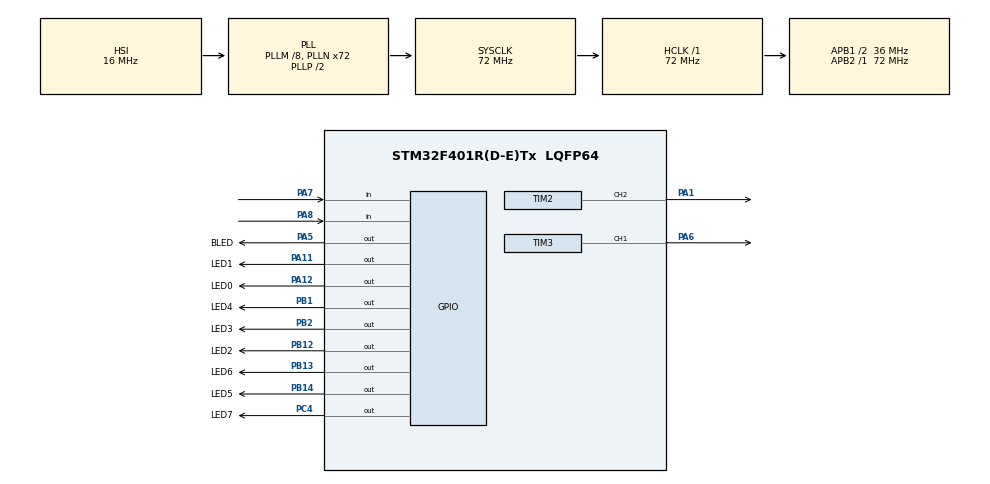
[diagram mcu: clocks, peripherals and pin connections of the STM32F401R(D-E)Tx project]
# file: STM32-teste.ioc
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Mcu.Family=STM32F4
Mcu.Name=STM32F401R(D-E)Tx
Mcu.Package=LQFP64
NVIC.PriorityGroup=NVIC_PRIORITYGROUP_4
PA1.Signal=S_TIM2_CH2
PA11.GPIO_Label=LED1
PA11.Signal=GPIO_Output
PA12.GPIO_Label=LED0
PA12.Signal=GPIO_Output
PA5.GPIO_Label=BLED
PA5.Signal=GPIO_Output
PA6.Signal=S_TIM3_CH1
PA7.Signal=GPIO_Input
PA8.Signal=GPIO_Input
PB1.GPIO_Label=LED4
PB1.Signal=GPIO_Output
PB12.GPIO_Label=LED2
PB12.Signal=GPIO_Output
PB13.GPIO_Label=LED6
PB13.Signal=GPIO_Output
PB14.GPIO_Label=LED5
PB14.Signal=GPIO_Output
PB2.GPIO_Label=LED3
PB2.Signal=GPIO_Output
PC4.GPIO_Label=LED7
PC4.Signal=GPIO_Output
PH0\ -\ OSC_IN.Mode=HSE-External-Oscillator
PH0\ -\ OSC_IN.Signal=RCC_OSC_IN
PH1\ -\ OSC_OUT.Mode=HSE-External-Oscillator
PH1\ -\ OSC_OUT.Signal=RCC_OSC_OUT
ProjectManager.HeapSize=0x200
ProjectManager.StackSize=0x400
ProjectManager.TargetToolchain=STM32CubeIDE
RCC.48MHZClocksFreq_Value=36000000
RCC.AHBFreq_Value=72000000
RCC.APB1CLKDivider=RCC_HCLK_DIV2
RCC.APB1Freq_Value=36000000
RCC.APB1TimFreq_Value=72000000
RCC.APB2Freq_Value=72000000
RCC.APB2TimFreq_Value=72000000
RCC.CortexFreq_Value=72000000
RCC.HCLKFreq_Value=72000000
RCC.HSE_VALUE=25000000
RCC.HSI_VALUE=16000000
RCC.LSE_VALUE=32768
RCC.PLLM=8
RCC.PLLN=72
RCC.SYSCLKFreq_VALUE=72000000
RCC.SYSCLKSource=RCC_SYSCLKSOURCE_PLLCLK
RCC.VCOOutputFreq_Value=144000000
SH.S_TIM2_CH2.0=TIM2_CH2,PWM Generation2 CH2
SH.S_TIM3_CH1.0=TIM3_CH1,PWM Generation1 CH1
TIM2.AutoReloadPreload=TIM_AUTORELOAD_PRELOAD_ENABLE
TIM2.Channel-PWM\ Generation2\ CH2=TIM_CHANNEL_2
TIM2.Period=9000-1
TIM2.Prescaler=40-1
TIM3.AutoReloadPreload=TIM_AUTORELOAD_PRELOAD_ENABLE
TIM3.Channel-PWM\ Generation1\ CH1=TIM_CHANNEL_1
TIM3.Period=24000-1
TIM3.Prescaler=3000-1
VP_TIM2_VS_ClockSourceINT.Mode=Internal
VP_TIM3_VS_ClockSourceINT.Mode=Internal
board=custom

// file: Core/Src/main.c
/* USER CODE BEGIN Header */
/**
  ******************************************************************************
  * @file           : main.c
  * @brief          : Main program body
  ******************************************************************************
  * @attention
  *
  * Copyright (c) 2023 STMicroelectronics.
  * All rights reserved.
  *
  * This software is licensed under terms that can be found in the LICENSE file
  * in the root directory of this software component.
  * If no LICENSE file comes with this software, it is provided AS-IS.
  *
  ******************************************************************************
  */
/* USER CODE END Header */
#include "main.h"

/* USER CODE BEGIN Includes */
#include <stdbool.h>
/* USER CODE END Includes */

/* USER CODE BEGIN PM */
#define Vref 3.3f
#define PWMPeriod 7200
#define HSPeriod 24000
#define TESTE 0

#if TESTE == 1
#define TESTE_PWM
#elif TESTE == 2
#define TESTE_LEDS
#endif

/* USER CODE END PM */

TIM_HandleTypeDef htim2;
TIM_HandleTypeDef htim3;

void SystemClock_Config(void);
static void MX_GPIO_Init(void);
static void MX_TIM3_Init(void);
static void MX_TIM2_Init(void);
/* USER CODE BEGIN PFP */
void ledLine(uint8_t value);
void testLEDs(void);
void testPWM(void);
/* USER CODE END PFP */

int main(void)
{
  /* USER CODE BEGIN 1 */
  int32_t CH1_DC = 0;

  bool done = true;
  int8_t count = 0;
  int8_t sar = 0;		/// Saida digital
  /* USER CODE END 1 */

  /* MCU Configuration--------------------------------------------------------*/

  /* Reset of all peripherals, Initializes the Flash interface and the Systick. */
  HAL_Init();

  /* Configure the system clock */
  SystemClock_Config();

  /* Initialize all configured peripherals */
  MX_GPIO_Init();
  MX_TIM3_Init();
  MX_TIM2_Init();

  /* Infinite loop */
  /* USER CODE BEGIN WHILE */

  /// cerca de 1 * 0,01 = 10 ms
  HAL_TIM_PWM_Start(&htim3, TIM_CHANNEL_1);
  HAL_TIM_PWM_Start(&htim2, TIM_CHANNEL_2);
  TIM3->CCR1 = HSPeriod / 10;	/// timer do H/S
  TIM2->CCR2 = PWMPeriod;

  while (1)
  {
	HAL_GPIO_WritePin(GPIOA, GPIO_PIN_5, GPIO_PIN_SET);

	while(HAL_GPIO_ReadPin(GPIOA, GPIO_PIN_7)) continue;

	HAL_GPIO_WritePin(GPIOA, GPIO_PIN_5, GPIO_PIN_RESET);

	count = 8;
	sar = 0x00;

#ifdef TESTE_PWM

	testPWM();
	while(1);
#else

	while(count > 0)
	{
		uint8_t temp = sar | (1 << count);
		float invertingInput = temp * Vref / 255;
		float dutyCicle = invertingInput / Vref; // Vref aqui refere-se ao maior nível de tensão do pwm
		TIM2->CCR2 = PWMPeriod * dutyCicle;
		HAL_Delay(5); /// pelo menos 5ms
		GPIO_PinState ret = HAL_GPIO_ReadPin(GPIOA, GPIO_PIN_8);
		if(ret)
			sar = temp;

		ledLine(sar);
		count--;
	}
#endif

    /* USER CODE END WHILE */

  }
}

void SystemClock_Config(void)
{
  RCC_OscInitTypeDef RCC_OscInitStruct = {0};
  RCC_ClkInitTypeDef RCC_ClkInitStruct = {0};

  /** Configure the main internal regulator output voltage
  */
  __HAL_RCC_PWR_CLK_ENABLE();
  __HAL_PWR_VOLTAGESCALING_CONFIG(PWR_REGULATOR_VOLTAGE_SCALE2);

  /** Initializes the RCC Oscillators according to the specified parameters
  * in the RCC_OscInitTypeDef structure.
  */
  RCC_OscInitStruct.OscillatorType = RCC_OSCILLATORTYPE_HSI;
  RCC_OscInitStruct.HSIState = RCC_HSI_ON;
  RCC_OscInitStruct.HSICalibrationValue = RCC_HSICALIBRATION_DEFAULT;
  RCC_OscInitStruct.PLL.PLLState = RCC_PLL_ON;
  RCC_OscInitStruct.PLL.PLLSource = RCC_PLLSOURCE_HSI;
  RCC_OscInitStruct.PLL.PLLM = 8;
  RCC_OscInitStruct.PLL.PLLN = 72;
  RCC_OscInitStruct.PLL.PLLP = RCC_PLLP_DIV2;
  RCC_OscInitStruct.PLL.PLLQ = 4;
  if (HAL_RCC_OscConfig(&RCC_OscInitStruct) != HAL_OK)
  {
    Error_Handler();
  }

  /** Initializes the CPU, AHB and APB buses clocks
  */
  RCC_ClkInitStruct.ClockType = RCC_CLOCKTYPE_HCLK|RCC_CLOCKTYPE_SYSCLK
                              |RCC_CLOCKTYPE_PCLK1|RCC_CLOCKTYPE_PCLK2;
  RCC_ClkInitStruct.SYSCLKSource = RCC_SYSCLKSOURCE_PLLCLK;
  RCC_ClkInitStruct.AHBCLKDivider = RCC_SYSCLK_DIV1;
  RCC_ClkInitStruct.APB1CLKDivider = RCC_HCLK_DIV2;
  RCC_ClkInitStruct.APB2CLKDivider = RCC_HCLK_DIV1;

  if (HAL_RCC_ClockConfig(&RCC_ClkInitStruct, FLASH_LATENCY_2) != HAL_OK)
  {
    Error_Handler();
  }
}

static void MX_TIM2_Init(void)
{

  TIM_ClockConfigTypeDef sClockSourceConfig = {0};
  TIM_MasterConfigTypeDef sMasterConfig = {0};
  TIM_OC_InitTypeDef sConfigOC = {0};

  htim2.Instance = TIM2;
  htim2.Init.Prescaler = 0;
  htim2.Init.CounterMode = TIM_COUNTERMODE_UP;
  htim2.Init.Period = PWMPeriod -1;
  htim2.Init.ClockDivision = TIM_CLOCKDIVISION_DIV1;
  htim2.Init.AutoReloadPreload = TIM_AUTORELOAD_PRELOAD_ENABLE;
  if (HAL_TIM_Base_Init(&htim2) != HAL_OK)
  {
    Error_Handler();
  }
  sClockSourceConfig.ClockSource = TIM_CLOCKSOURCE_INTERNAL;
  if (HAL_TIM_ConfigClockSource(&htim2, &sClockSourceConfig) != HAL_OK)
  {
    Error_Handler();
  }
  if (HAL_TIM_PWM_Init(&htim2) != HAL_OK)
  {
    Error_Handler();
  }
  sMasterConfig.MasterOutputTrigger = TIM_TRGO_RESET;
  sMasterConfig.MasterSlaveMode = TIM_MASTERSLAVEMODE_DISABLE;
  if (HAL_TIMEx_MasterConfigSynchronization(&htim2, &sMasterConfig) != HAL_OK)
  {
    Error_Handler();
  }
  sConfigOC.OCMode = TIM_OCMODE_PWM1;
  sConfigOC.Pulse = 0;
  sConfigOC.OCPolarity = TIM_OCPOLARITY_HIGH;
  sConfigOC.OCFastMode = TIM_OCFAST_DISABLE;
  if (HAL_TIM_PWM_ConfigChannel(&htim2, &sConfigOC, TIM_CHANNEL_2) != HAL_OK)
  {
    Error_Handler();
  }
  HAL_TIM_MspPostInit(&htim2);

}

static void MX_TIM3_Init(void)
{

  TIM_ClockConfigTypeDef sClockSourceConfig = {0};
  TIM_MasterConfigTypeDef sMasterConfig = {0};
  TIM_OC_InitTypeDef sConfigOC = {0};

  htim3.Instance = TIM3;
  htim3.Init.Prescaler = 3000-1;
  htim3.Init.CounterMode = TIM_COUNTERMODE_UP;
  htim3.Init.Period = 24000-1;
  htim3.Init.ClockDivision = TIM_CLOCKDIVISION_DIV1;
  htim3.Init.AutoReloadPreload = TIM_AUTORELOAD_PRELOAD_ENABLE;
  if (HAL_TIM_Base_Init(&htim3) != HAL_OK)
  {
    Error_Handler();
  }
  sClockSourceConfig.ClockSource = TIM_CLOCKSOURCE_INTERNAL;
  if (HAL_TIM_ConfigClockSource(&htim3, &sClockSourceConfig) != HAL_OK)
  {
    Error_Handler();
  }
  if (HAL_TIM_PWM_Init(&htim3) != HAL_OK)
  {
    Error_Handler();
  }
  sMasterConfig.MasterOutputTrigger = TIM_TRGO_RESET;
  sMasterConfig.MasterSlaveMode = TIM_MASTERSLAVEMODE_DISABLE;
  if (HAL_TIMEx_MasterConfigSynchronization(&htim3, &sMasterConfig) != HAL_OK)
  {
    Error_Handler();
  }
  sConfigOC.OCMode = TIM_OCMODE_PWM1;
  sConfigOC.Pulse = 0;
  sConfigOC.OCPolarity = TIM_OCPOLARITY_HIGH;
  sConfigOC.OCFastMode = TIM_OCFAST_DISABLE;
  if (HAL_TIM_PWM_ConfigChannel(&htim3, &sConfigOC, TIM_CHANNEL_1) != HAL_OK)
  {
    Error_Handler();
  }
  HAL_TIM_MspPostInit(&htim3);

}

static void MX_GPIO_Init(void)
{
  GPIO_InitTypeDef GPIO_InitStruct = {0};

  /* GPIO Ports Clock Enable */
  __HAL_RCC_GPIOH_CLK_ENABLE();
  __HAL_RCC_GPIOA_CLK_ENABLE();
  __HAL_RCC_GPIOC_CLK_ENABLE();
  __HAL_RCC_GPIOB_CLK_ENABLE();

  /*Configure GPIO pin Output Level */
  HAL_GPIO_WritePin(GPIOA, BLED_Pin|LED1_Pin|LED0_Pin, GPIO_PIN_RESET);

  /*Configure GPIO pin Output Level */
  HAL_GPIO_WritePin(LED7_GPIO_Port, LED7_Pin, GPIO_PIN_RESET);

  /*Configure GPIO pin Output Level */
  HAL_GPIO_WritePin(GPIOB, LED4_Pin|LED3_Pin|LED2_Pin|LED6_Pin
                          |LED5_Pin, GPIO_PIN_RESET);

  /*Configure GPIO pins : BLED_Pin LED1_Pin LED0_Pin */
  GPIO_InitStruct.Pin = BLED_Pin|LED1_Pin|LED0_Pin;
  GPIO_InitStruct.Mode = GPIO_MODE_OUTPUT_PP;
  GPIO_InitStruct.Pull = GPIO_NOPULL;
  GPIO_InitStruct.Speed = GPIO_SPEED_FREQ_LOW;
  HAL_GPIO_Init(GPIOA, &GPIO_InitStruct);

  /*Configure GPIO pins : PA7 PA8 */
  GPIO_InitStruct.Pin = GPIO_PIN_7|GPIO_PIN_8;
  GPIO_InitStruct.Mode = GPIO_MODE_INPUT;
  GPIO_InitStruct.Pull = GPIO_NOPULL;
  HAL_GPIO_Init(GPIOA, &GPIO_InitStruct);

  /*Configure GPIO pin : LED7_Pin */
  GPIO_InitStruct.Pin = LED7_Pin;
  GPIO_InitStruct.Mode = GPIO_MODE_OUTPUT_PP;
  GPIO_InitStruct.Pull = GPIO_NOPULL;
  GPIO_InitStruct.Speed = GPIO_SPEED_FREQ_LOW;
  HAL_GPIO_Init(LED7_GPIO_Port, &GPIO_InitStruct);

  /*Configure GPIO pins : LED4_Pin LED3_Pin LED2_Pin LED6_Pin
                           LED5_Pin */
  GPIO_InitStruct.Pin = LED4_Pin|LED3_Pin|LED2_Pin|LED6_Pin
                          |LED5_Pin;
  GPIO_InitStruct.Mode = GPIO_MODE_OUTPUT_PP;
  GPIO_InitStruct.Pull = GPIO_NOPULL;
  GPIO_InitStruct.Speed = GPIO_SPEED_FREQ_LOW;
  HAL_GPIO_Init(GPIOB, &GPIO_InitStruct);

}

/* USER CODE BEGIN 4 */
void ledLine(uint8_t value)
{
	if(value & 1)
		HAL_GPIO_WritePin(LED0_GPIO_Port, LED0_Pin, GPIO_PIN_SET);
	else
		HAL_GPIO_WritePin(LED0_GPIO_Port, LED0_Pin, GPIO_PIN_RESET);

	if(value & 2)
		HAL_GPIO_WritePin(LED1_GPIO_Port, LED1_Pin, GPIO_PIN_SET);
	else
			HAL_GPIO_WritePin(LED1_GPIO_Port, LED1_Pin, GPIO_PIN_RESET);

	if(value & 4)
		HAL_GPIO_WritePin(LED2_GPIO_Port, LED2_Pin, GPIO_PIN_SET);
	else
		HAL_GPIO_WritePin(LED2_GPIO_Port, LED2_Pin, GPIO_PIN_RESET);

	if(value & 8)
		HAL_GPIO_WritePin(LED3_GPIO_Port, LED3_Pin, GPIO_PIN_SET);
	else
		HAL_GPIO_WritePin(LED3_GPIO_Port, LED3_Pin, GPIO_PIN_RESET);

	if(value & 16)
			HAL_GPIO_WritePin(LED4_GPIO_Port, LED4_Pin, GPIO_PIN_SET);
	else
		HAL_GPIO_WritePin(LED4_GPIO_Port, LED4_Pin, GPIO_PIN_RESET);

	if(value & 32)
		HAL_GPIO_WritePin(LED5_GPIO_Port, LED5_Pin, GPIO_PIN_SET);
	else
		HAL_GPIO_WritePin(LED5_GPIO_Port, LED5_Pin, GPIO_PIN_RESET);

	if(value & 64)
		HAL_GPIO_WritePin(LED6_GPIO_Port, LED6_Pin, GPIO_PIN_SET);
	else
		HAL_GPIO_WritePin(LED6_GPIO_Port, LED6_Pin, GPIO_PIN_RESET);

	if(value & 128)
		HAL_GPIO_WritePin(LED7_GPIO_Port, LED7_Pin, GPIO_PIN_SET);
	else
		HAL_GPIO_WritePin(LED7_GPIO_Port, LED7_Pin, GPIO_PIN_RESET);

}

void testPWM()
{
	uint8_t temp = 0xA0;
	float invertingInput = temp * Vref / 255;
	float dutyCicle = invertingInput / Vref; // Vref aqui refere-se ao maior nível de tensão do pwm
	TIM2->CCR2 = PWMPeriod * dutyCicle;
	ledLine(0xFF);
}

void testLEDs()
{
	uint8_t count = 0;
	while(true)
	{
		ledLine(1 << count);
		count = count == 8 ? 0 : count + 1;
		HAL_Delay(500);
	}
}

/* USER CODE END 4 */

void Error_Handler(void)
{
  __disable_irq();
  while (1)
  {
  }
}
